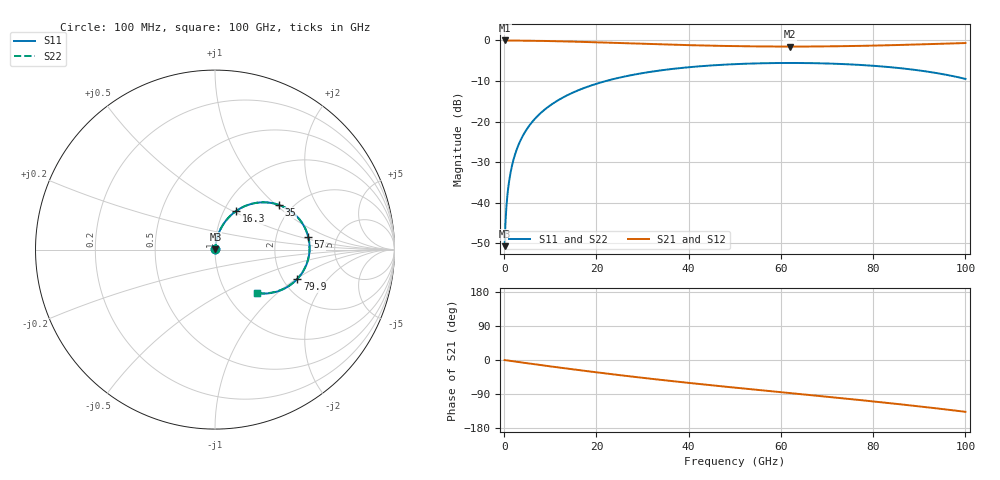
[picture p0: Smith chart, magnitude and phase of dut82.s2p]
! Touchstone file exported from HFSS 2026.1.0
!  File:  C:/ffzhzh/LocalFiles/Ansys_Project_Files/temp_train_RDL_82_1783498802_41296.aedt
!  Generated:  04:21:18 PM Jul  8, 2026
!  Design:  RDL
!  Project:  temp_train_RDL_82_1783498802_41296
! Variables:
!  h_bsmrdl = 2um
!  h_ox = 20um
!  h_rdl = 5um
!  h_sub = 80um
!  h_tmrdl = 3.64um
!  h_tsv = 80um
!  h_via = 3um
!  l_bsmrdl = 300um
!  l_sub = 865.26um
!  l_tmrdl = 465.26um
!  m_sub = 200um
!  pitch = 45.69um
!  r_tsv = 6um
!  s_tmrdl = 10um
!  w_bsmrdl = 18um
!  w_sub = 500um
!  w_tmrdl = 21.79um
!  x_tsv_center1 = 476.155um
!  x_tsv_center2 = 794.155um
!  x_tsv_center3 = 1281.205um
!  x_tsv_center4 = 1599.205um
!  x_tsv_center5 = 2086.255um
!  x_tsv_center6 = 2404.255um
# GHz S MA R 50.000000
! Terminal data exported
! Port[1] = TM_RDL1_1_T1
! Port[2] = TM_RDL1_1_T2
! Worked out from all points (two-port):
!   1000 points, 100 MHz to 100 GHz, reference 50 ohm
!   highest |S21| = -0.02 dB at 100 MHz (marker M1); lowest = -1.5 dB at 62 GHz (marker M2)
!   |S21| within 3 dB of the highest: start of sweep to end of sweep
!   lowest |S11| = -50.7 dB at 100 MHz (marker M3), VSWR 1.01, Z = 50.2 + j0.185 ohm
!   |S11| at or under -10 dB: start of sweep to 22.08 GHz
!   |S22| runs from -50.7 to -5.6 dB; largest |S21 - S12| = 1.7e-14
!   S11 on the Smith chart (normalised r, x): 100 MHz: 1.00, +0.00; 16.3 GHz: 1.14, +0.52; 35 GHz: 1.71, +1.05; 57 GHz: 3.07, +0.60; 79.9 GHz: 2.39, -1.02; 100 GHz: 1.37, -0.75
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0.1  0.002927 39.1  0.9977 -0.2  0.9977 -0.2  0.002927 39.1
! Gamma 0 0 0 0
! Port Impedance 50 0 50 0
0.9  0.01553 77.8  0.997 -1.6  0.997 -1.6  0.01553 77.8
1.2  0.02041 79.6  0.9968 -2.1  0.9968 -2.1  0.02041 79.6
1.5  0.02532 80.5  0.9966 -2.6  0.9966 -2.6  0.02532 80.5
2.5  0.04171 81.1  0.9958 -4.3  0.9958 -4.3  0.04171 81.1
4  0.06607 79.7  0.9938 -6.8  0.9938 -6.8  0.06607 79.7
6.1  0.0994 76.7  0.99 -10.4  0.99 -10.4  0.0994 76.8
8.8  0.1407 72.6  0.9838 -14.8  0.9838 -14.8  0.1407 72.6
12.2  0.1903 67.4  0.9742 -20.3  0.9742 -20.3  0.1903 67.4
16.3  0.2461 61.2  0.9606 -26.8  0.9606 -26.8  0.2461 61.2
16.8  0.2525 60.4  0.9589 -27.6  0.9589 -27.6  0.2525 60.5
24.2  0.3394 49.6  0.9308 -38.7  0.9308 -38.7  0.3394 49.7
33.4  0.4231 37.0  0.8957 -51.7  0.8957 -51.7  0.4231 37.0
35  0.4349 34.8  0.89 -53.8  0.89 -53.8  0.4349 34.9
50.1  0.51 16.0  0.8496 -73.0  0.8496 -73.0  0.51 16.1
57  0.5242 7.8  0.8411 -81.4  0.8411 -81.4  0.5242 7.9
62  0.5272 1.9  0.8392 -87.3  0.8392 -87.3  0.5272 2.0
66.7  0.5245 -3.6  0.8408 -93.0  0.8408 -93.0  0.5245 -3.5
79.9  0.4872 -19.6  0.8618 -109.2  0.8618 -109.2  0.4872 -19.4
83.4  0.4695 -24.0  0.871 -113.6  0.871 -113.6  0.4695 -23.7
91.9  0.4114 -35.1  0.8982 -125.0  0.8982 -125.0  0.4115 -34.8
100  0.3357 -46.3  0.9273 -136.7  0.9273 -136.7  0.3358 -45.9
